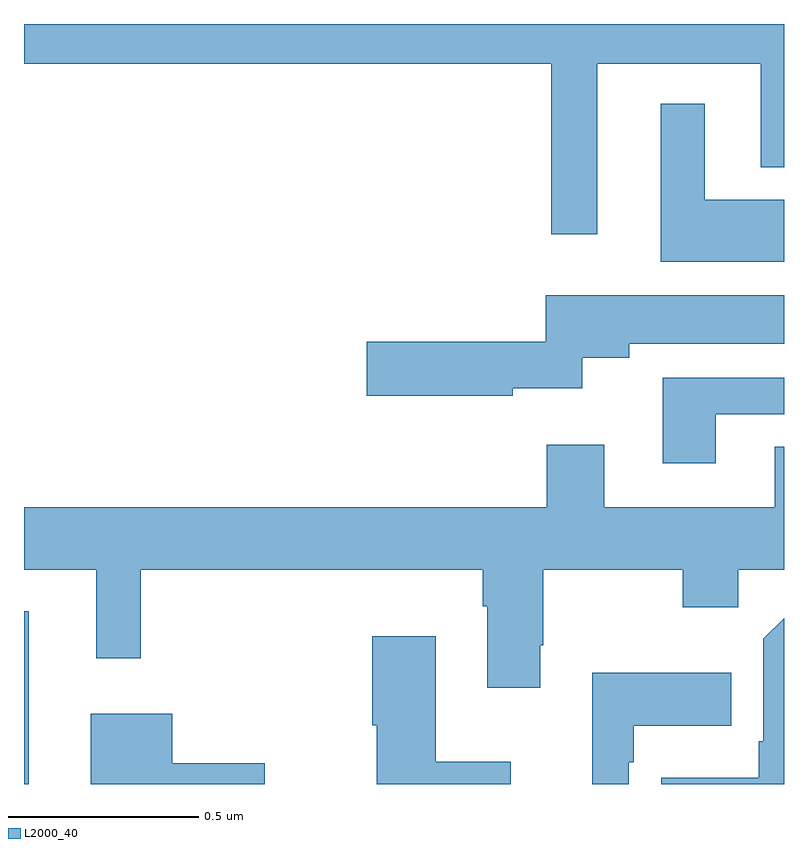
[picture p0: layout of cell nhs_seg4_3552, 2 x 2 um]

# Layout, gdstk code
import gdstk
lib = gdstk.Library(unit=1e-6, precision=1e-09)
def R(c, l, rs):  # rectangles x0, y0, x1, y1
    for r in rs: c.add(gdstk.rectangle(r[:2], r[2:], *l))
def P(c, l, *ps):  # polygons
    for p in ps: c.add(gdstk.Polygon(p, *l))
L2000_40 = (2000, 40)

nhs_seg4_3552 = lib.new_cell('nhs_seg4_3552')
R(nhs_seg4_3552, L2000_40, [(154,818.9,154.012,819.355)])
P(nhs_seg4_3552, L2000_40, [(155.509,820.796),(155.939,820.796),(155.939,820.523),(156,820.523),(156,820.9),(154,820.9),(154,820.796),(155.388,820.796),(155.388,820.347),(155.509,820.347)],
  [(156,820.438),(155.791,820.438),(155.791,820.69),(155.675,820.69),(155.675,820.274),(156,820.274)],
  [(155.286,819.941),(155.469,819.941),(155.469,820.022),(155.593,820.022),(155.593,820.058),(156,820.058),(156,820.186),(155.373,820.186),(155.373,820.064),(154.902,820.064),(154.902,819.922),(155.286,819.922)],
  [(155.821,819.873),(156,819.873),(156,819.969),(155.681,819.969),(155.681,819.744),(155.821,819.744)],
  [(155.359,819.265),(155.367,819.265),(155.367,819.464),(155.734,819.464),(155.734,819.365),(155.88,819.365),(155.88,819.464),(156,819.464),(156,819.788),(155.975,819.788),(155.975,819.628),(155.527,819.628),(155.527,819.793),(155.375,819.793),(155.375,819.628),(154,819.628),(154,819.464),(154.19,819.464),(154.19,819.231),(154.307,819.231),(154.307,819.464),(155.207,819.464),(155.207,819.368),(155.219,819.368),(155.219,819.153),(155.359,819.153)],
  [(156,819.336),(155.946,819.282),(155.946,819.013),(155.934,819.013),(155.934,818.917),(155.677,818.917),(155.677,818.9),(156,818.9)],
  [(155.281,818.959),(155.083,818.959),(155.083,819.289),(154.916,819.289),(154.916,819.055),(154.928,819.055),(154.928,818.9),(155.281,818.9)],
  [(155.592,818.957),(155.605,818.957),(155.605,819.053),(155.861,819.053),(155.861,819.193),(155.495,819.193),(155.495,818.9),(155.592,818.9)],
  [(154.633,818.954),(154.39,818.954),(154.39,819.085),(154.175,819.085),(154.175,818.9),(154.633,818.9)])

lib.write_gds('nhs_seg4_3552.gds')
